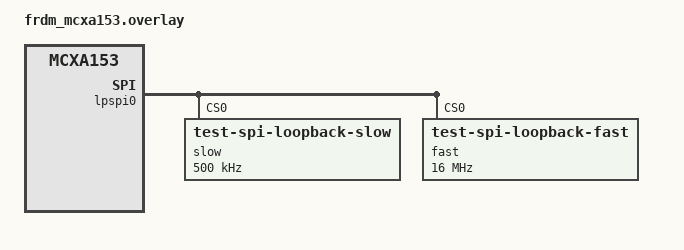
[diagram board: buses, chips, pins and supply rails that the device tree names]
/*
 * Copyright 2025 NXP
 *
 * SPDX-License-Identifier: Apache-2.0
 */

/* To test this sample, connect
 * LPSPI0 MOSI(J6-6, P1_0/LPSPI0_SDO)     -->        LPSPI0 MISO(J6-5, P1_2/LPSPI0_SDI)
 */
&lpspi0 {
	slow@0 {
		compatible = "test-spi-loopback-slow";
		reg = <0>;
		spi-max-frequency = <500000>;
	};
	fast@0 {
		compatible = "test-spi-loopback-fast";
		reg = <0>;
		spi-max-frequency = <16000000>;
	};
};
